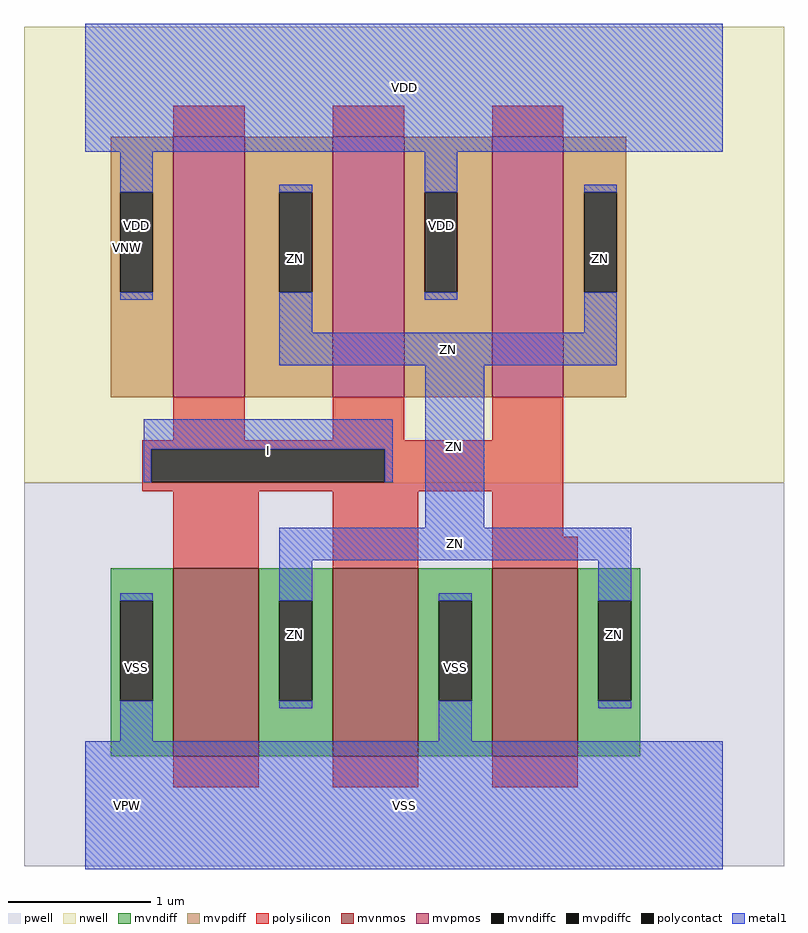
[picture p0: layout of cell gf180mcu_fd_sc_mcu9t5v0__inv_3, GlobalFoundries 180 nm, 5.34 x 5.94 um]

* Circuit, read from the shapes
.subckt gf180mcu_fd_sc_mcu9t5v0__inv_3 I ZN VDD VNW VPW VSS
XM1 ZN I VSS VPW nfet_06v0 w=1.32u l=0.6u m=3
XM2 ZN I VDD VNW pfet_06v0 w=1.83u l=0.5u m=3
.ends

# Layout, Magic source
magic
tech gf180mcuD
magscale 1 10
<< nwell >>
rect -86 453 982 1094
<< pwell >>
rect -86 -86 982 453
<< mvnmos >>
rect 124 69 244 333
rect 348 69 468 333
rect 572 69 692 333
<< mvpmos >>
rect 124 573 224 939
rect 348 573 448 939
rect 572 573 672 939
<< mvndiff >>
rect 36 287 124 333
rect 36 147 49 287
rect 95 147 124 287
rect 36 69 124 147
rect 244 287 348 333
rect 244 147 273 287
rect 319 147 348 287
rect 244 69 348 147
rect 468 287 572 333
rect 468 147 497 287
rect 543 147 572 287
rect 468 69 572 147
rect 692 287 780 333
rect 692 147 721 287
rect 767 147 780 287
rect 692 69 780 147
<< mvpdiff >>
rect 36 861 124 939
rect 36 721 49 861
rect 95 721 124 861
rect 36 573 124 721
rect 224 861 348 939
rect 224 721 273 861
rect 319 721 348 861
rect 224 573 348 721
rect 448 861 572 939
rect 448 721 477 861
rect 523 721 572 861
rect 448 573 572 721
rect 672 861 760 939
rect 672 721 701 861
rect 747 721 760 861
rect 672 573 760 721
<< mvndiffc >>
rect 49 147 95 287
rect 273 147 319 287
rect 497 147 543 287
rect 721 147 767 287
<< mvpdiffc >>
rect 49 721 95 861
rect 273 721 319 861
rect 477 721 523 861
rect 701 721 747 861
<< polysilicon >>
rect 124 939 224 983
rect 348 939 448 983
rect 572 939 672 983
rect 124 513 224 573
rect 348 513 448 573
rect 572 513 672 573
rect 80 500 672 513
rect 80 454 93 500
rect 421 454 672 500
rect 80 441 672 454
rect 124 333 244 441
rect 348 333 468 441
rect 572 377 672 441
rect 572 333 692 377
rect 124 25 244 69
rect 348 25 468 69
rect 572 25 692 69
<< polycontact >>
rect 93 454 421 500
<< metal1 >>
rect 0 918 896 1098
rect 49 861 95 918
rect 49 710 95 721
rect 273 861 319 872
rect 273 664 319 721
rect 477 861 523 918
rect 477 710 523 721
rect 701 861 747 872
rect 701 664 747 721
rect 273 618 747 664
rect 82 500 432 542
rect 82 454 93 500
rect 421 454 432 500
rect 478 390 561 618
rect 273 344 767 390
rect 49 287 95 298
rect 49 90 95 147
rect 273 287 319 344
rect 273 136 319 147
rect 497 287 543 298
rect 497 90 543 147
rect 721 287 767 344
rect 721 136 767 147
rect 0 -90 896 90
<< labels >>
flabel metal1 s 82 454 432 542 0 FreeSans 200 0 0 0 I
port 1 nsew default input
flabel metal1 s 0 918 896 1098 0 FreeSans 200 0 0 0 VDD
port 3 nsew power bidirectional abutment
flabel metal1 s 497 90 543 298 0 FreeSans 200 0 0 0 VSS
port 6 nsew ground bidirectional abutment
flabel metal1 s 701 664 747 872 0 FreeSans 200 0 0 0 ZN
port 2 nsew default output
flabel nwell s 10 734 110 834 0 FreeSans 400 0 0 0 VNW
port 4 nsew power bidirectional
flabel pwell s 10 -50 110 50 0 FreeSans 400 0 0 0 VPW
port 5 nsew ground bidirectional
rlabel metal1 s 273 664 319 872 1 ZN
port 2 nsew default output
rlabel metal1 s 273 618 747 664 1 ZN
port 2 nsew default output
rlabel metal1 s 478 390 561 618 1 ZN
port 2 nsew default output
rlabel metal1 s 273 344 767 390 1 ZN
port 2 nsew default output
rlabel metal1 s 721 136 767 344 1 ZN
port 2 nsew default output
rlabel metal1 s 273 136 319 344 1 ZN
port 2 nsew default output
rlabel metal1 s 477 710 523 918 1 VDD
port 3 nsew power bidirectional abutment
rlabel metal1 s 49 710 95 918 1 VDD
port 3 nsew power bidirectional abutment
rlabel metal1 s 49 90 95 298 1 VSS
port 6 nsew ground bidirectional abutment
rlabel metal1 s 0 -90 896 90 1 VSS
port 6 nsew ground bidirectional abutment
<< properties >>
string FIXED_BBOX 0 0 896 1008
string GDS_END 877472
string GDS_FILE $PDKPATH/libs.ref/gf180mcu_fd_sc_mcu9t5v0/gds/gf180mcu_fd_sc_mcu9t5v0.gds
string GDS_START 874154
string LEFclass core
string LEFsite GF018hv5v_green_sc9
string LEFsymmetry X Y
<< end >>
